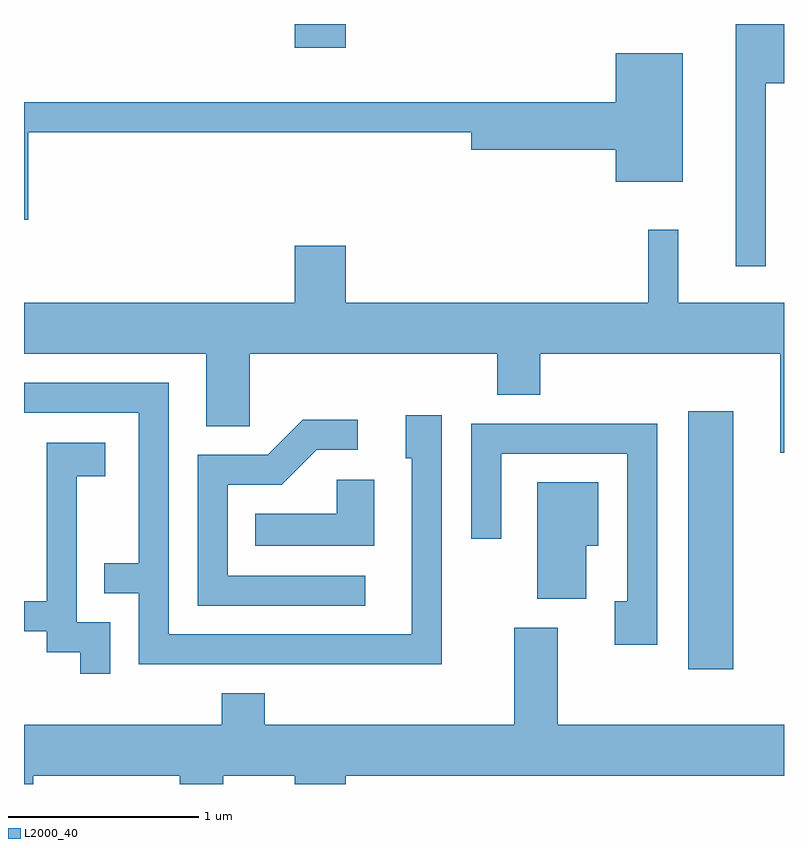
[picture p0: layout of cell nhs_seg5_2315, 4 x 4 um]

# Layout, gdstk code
import gdstk
lib = gdstk.Library(unit=1e-6, precision=1e-09)
def R(c, l, rs):  # rectangles x0, y0, x1, y1
    for r in rs: c.add(gdstk.rectangle(r[:2], r[2:], *l))
def P(c, l, *ps):  # polygons
    for p in ps: c.add(gdstk.Polygon(p, *l))
L2000_40 = (2000, 40)

nhs_seg5_2315 = lib.new_cell('nhs_seg5_2315')
R(nhs_seg5_2315, L2000_40, [(257.106,1470.676,257.344,1472.034), (255.036,1473.946,255.304,1474.072)])
P(nhs_seg5_2315, L2000_40, [(257.514,1473.761),(257.611,1473.761),(257.611,1474.072),(257.356,1474.072),(257.356,1472.798),(257.514,1472.798)],
  [(253.634,1473.501),(255.966,1473.501),(255.966,1473.411),(256.726,1473.411),(256.726,1473.241),(257.079,1473.241),(257.079,1473.919),(256.726,1473.919),(256.726,1473.659),(253.611,1473.659),(253.611,1473.041),(253.634,1473.041)],
  [(257.611,1472.604),(257.054,1472.604),(257.054,1472.988),(256.896,1472.988),(256.896,1472.604),(255.304,1472.604),(255.304,1472.904),(255.036,1472.904),(255.036,1472.604),(253.611,1472.604),(253.611,1472.336),(254.571,1472.336),(254.571,1471.956),(254.799,1471.956),(254.799,1472.336),(256.101,1472.336),(256.101,1472.121),(256.329,1472.121),(256.329,1472.336),(257.591,1472.336),(257.591,1471.816),(257.611,1471.816)],
  [(255.809,1472.014),(255.621,1472.014),(255.621,1471.786),(255.651,1471.786),(255.651,1470.859),(254.374,1470.859),(254.374,1472.184),(253.611,1472.184),(253.611,1472.026),(254.216,1472.026),(254.216,1471.234),(254.033,1471.234),(254.033,1471.076),(254.216,1471.076),(254.216,1470.701),(255.809,1470.701)],
  [(255.408,1471.169),(254.684,1471.169),(254.684,1471.646),(254.967,1471.646),(255.152,1471.831),(255.368,1471.831),(255.368,1471.989),(255.079,1471.989),(254.894,1471.804),(254.526,1471.804),(254.526,1471.011),(255.408,1471.011)],
  [(256.944,1471.969),(255.966,1471.969),(255.966,1471.363),(256.124,1471.363),(256.124,1471.811),(256.786,1471.811),(256.786,1471.034),(256.721,1471.034),(256.721,1470.806),(256.944,1470.806)],
  [(254.064,1470.924),(253.889,1470.924),(253.889,1471.691),(254.039,1471.691),(254.039,1471.869),(253.731,1471.869),(253.731,1471.034),(253.611,1471.034),(253.611,1470.876),(253.731,1470.876),(253.731,1470.766),(253.906,1470.766),(253.906,1470.653),(254.064,1470.653)],
  [(255.454,1471.674),(255.256,1471.674),(255.256,1471.494),(254.828,1471.494),(254.828,1471.326),(255.454,1471.326)],
  [(256.569,1471.326),(256.634,1471.326),(256.634,1471.659),(256.311,1471.659),(256.311,1471.046),(256.569,1471.046)],
  [(253.659,1470.116),(254.431,1470.116),(254.431,1470.072),(254.659,1470.072),(254.659,1470.116),(255.036,1470.116),(255.036,1470.072),(255.304,1470.072),(255.304,1470.116),(257.611,1470.116),(257.611,1470.384),(256.419,1470.384),(256.419,1470.894),(256.191,1470.894),(256.191,1470.384),(254.879,1470.384),(254.879,1470.549),(254.651,1470.549),(254.651,1470.384),(253.611,1470.384),(253.611,1470.072),(253.659,1470.072)])

lib.write_gds('nhs_seg5_2315.gds')
